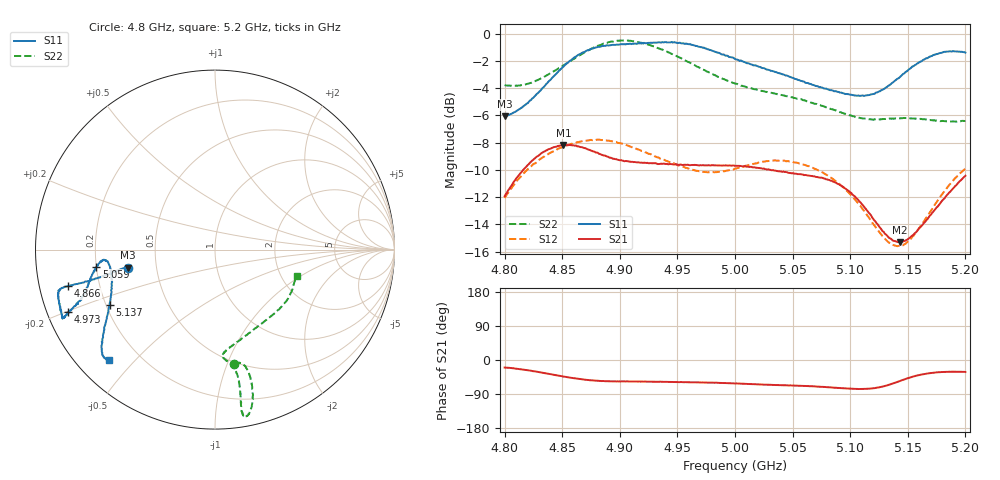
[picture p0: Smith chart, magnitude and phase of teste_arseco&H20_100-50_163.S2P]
! Network Analyzer HP8722D
! Hewlett-Packard
! Data name: Linha & Wilkinson
! Saver's name: Rodrigo Anjos
! Comments: Teste da utilização de aquisição
! continua pelo VNA HP8722D
! Time and date: 6/5/2025 13:55
!  Frequency  S11  S21  S12  S22
# HZ  S  MA R 50
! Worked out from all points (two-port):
!   401 points, 4.8 GHz to 5.2 GHz, reference 50 ohm
!   highest |S21| = -8.17 dB at 4.851 GHz (marker M1); lowest = -15.3 dB at 5.143 GHz (marker M2)
!   |S21| within 3 dB of the highest: 4.806 GHz to 5.092 GHz (286.4 MHz wide, 5.79 % of centre); 5.191451 GHz to end of sweep
!   lowest |S11| = -6.1 dB at 4.8 GHz (marker M3), VSWR 2.98, Z = 17 - j4.57 ohm
!   |S11| at or under -10 dB: nowhere
!   |S22| runs from -6.5 to -0.5 dB; largest |S21 - S12| = 0.62
!   S11 on the Smith chart (normalised r, x): 4.8 GHz: 0.34, -0.09; 4.866 GHz: 0.09, -0.12; 4.973 GHz: 0.06, -0.20; 5.059 GHz: 0.20, -0.07; 5.137 GHz: 0.22, -0.23; 5.2 GHz: 0.09, -0.42
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4.8e9  0.4971 -168.2  0.253 -19.9  0.2495 -141.0  0.6481 -80.4
4.823e9  0.5715 -167.7  0.3391 -28.3  0.3257 -144.0  0.6602 -76.0
4.851e9  0.7565 -166.0  0.3904 -43.8  0.3843 -149.5  0.7654 -74.6
4.866e9  0.8444 -166.1  0.3834 -50.6  0.4017 -152.1  0.8373 -75.4
4.867e9  0.85 -166.0  0.3833 -51.1  0.4027 -152.2  0.8431 -75.6
4.88e9  0.8917 -165.7  0.3662 -54.7  0.4082 -154.3  0.8989 -76.8
4.899e9  0.9117 -163.0  0.3438 -56.6  0.3971 -156.9  0.9428 -79.3
4.934e9  0.9304 -156.6  0.3323 -57.6  0.3508 -155.8  0.8828 -80.5
4.973e9  0.8894 -157.0  0.3286 -59.5  0.3105 -146.0  0.7362 -79.8
5e9  0.8083 -159.2  0.3272 -62.0  0.3195 -137.3  0.6564 -81.2
5.034e9  0.726 -165.3  0.3144 -66.0  0.342 -134.5  0.6041 -85.7
5.059e9  0.6677 -171.7  0.3039 -68.4  0.3308 -136.3  0.5703 -84.5
5.067e9  0.65 -173.2  0.3003 -69.3  0.3226 -137.0  0.5574 -82.8
5.083e9  0.6205 -174.7  0.2886 -72.4  0.2967 -138.3  0.5294 -76.8
5.101e9  0.5963 -172.1  0.2599 -75.9  0.2547 -138.9  0.5004 -66.5
5.115e9  0.5943 -165.9  0.2232 -76.0  0.2145 -136.0  0.4868 -56.5
5.134e9  0.647 -154.2  0.1776 -65.1  0.1704 -120.5  0.4878 -43.4
5.137e9  0.6619 -152.4  0.1738 -62.1  0.1675 -116.7  0.4881 -41.5
5.143e9  0.6922 -149.5  0.1713 -55.7  0.1661 -108.8  0.489 -37.9
5.155e9  0.7602 -144.1  0.1828 -43.4  0.1812 -94.0  0.4883 -31.9
5.174e9  0.8392 -138.7  0.2272 -33.0  0.2375 -80.4  0.4792 -23.9
5.2e9  0.8528 -133.8  0.3007 -31.6  0.3197 -77.1  0.4784 -17.6
